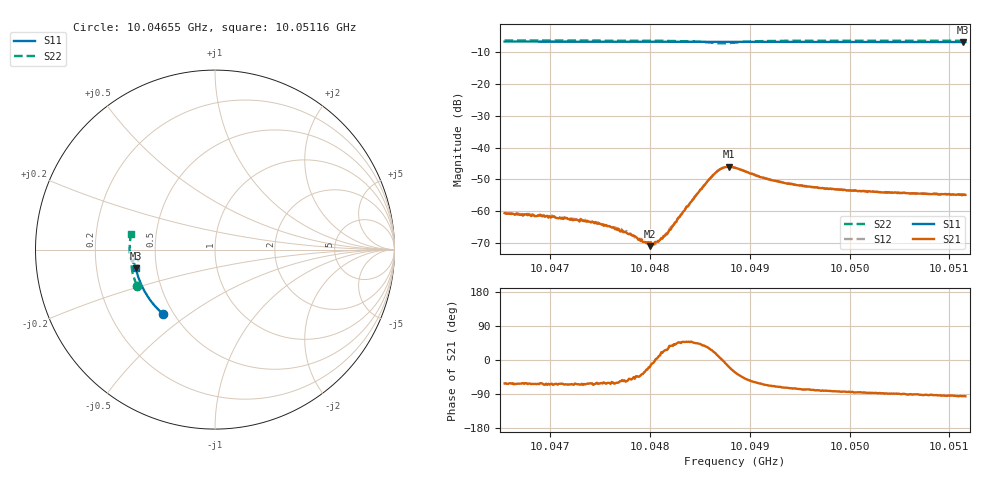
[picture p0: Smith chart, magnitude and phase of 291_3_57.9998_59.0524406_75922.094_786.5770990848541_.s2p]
#  HZ  S  RI  R  50.00
! Rohde & Schwarz Vector Network Analyzer
! Rohde-Schwarz,ZNB20-2Port,1311601062101988,3.16
! Created: UTC 3/21/2024, 1:03:18 AM
! freq[Hz]  re:S11  im:S11  re:S21  im:S21  re:S12  im:S12  re:S22  im:S22
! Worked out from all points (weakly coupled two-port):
!   401 points, 10.04655 GHz to 10.05116 GHz, reference 50 ohm
!   highest |S21| = -46.02 dB at 10.04879 GHz (marker M1); lowest = -70.9 dB at 10.048 GHz (marker M2)
!   lowest |S11| = -6.9 dB at 10.05114 GHz (marker M3), VSWR 2.65, Z = 19.1 - j5.03 ohm
!   |S11| at or under -10 dB: nowhere
!   |S22| runs from -7.3 to -6.4 dB; largest |S21 - S12| = 0.00036
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1.0046545e10  -0.2884 -0.3597  0.000441 -0.000826  0.000495 -0.000798  -0.4352 -0.2018
1.0046949e10  -0.3081 -0.3418  0.000345 -0.00075  0.000434 -0.000743  -0.4451 -0.1764
1.0047318e10  -0.3252 -0.3243  0.000331 -0.000641  0.000372 -0.000633  -0.4532 -0.1523
1.004748e10  -0.3325 -0.3165  0.000292 -0.000568  0.000352 -0.000577  -0.4562 -0.1415
1.0047699e10  -0.3419 -0.3057  0.00027 -0.000404  0.000318 -0.000453  -0.4598 -0.1262
1.0047999e10  -0.3544 -0.2901  0.000268 -9.45e-05  0.000308 -8.22e-05  -0.4634 -0.1039
1.0048022e10  -0.3552 -0.2888  0.0003 -4.95e-05  0.000283 -2.39e-05  -0.4634 -0.102
1.0048045e10  -0.3562 -0.2877  0.000314 -2.29e-05  0.000322 -1.46e-05  -0.4638 -0.1001
1.0048091e10  -0.3581 -0.2852  0.000339 6.43e-05  0.00033 7.81e-05  -0.4638 -0.0964
1.0048126e10  -0.3594 -0.2835  0.000353 0.000121  0.000343 0.00014  -0.464 -0.0938
1.0048195e10  -0.362 -0.2799  0.000407 0.00031  0.000418 0.000316  -0.464 -0.0877
1.0048472e10  -0.3725 -0.2647  0.00134 0.0013  0.00125 0.00137  -0.4564 -0.0616
1.0048622e10  -0.3777 -0.2564  0.00317 0.00151  0.00311 0.00169  -0.4392 -0.0526
1.0048714e10  -0.3807 -0.2514  0.00465 0.000223  0.00467 0.000529  -0.4278 -0.0608
1.0048795e10  -0.3834 -0.2471  0.00473 -0.00163  0.00484 -0.00134  -0.4302 -0.0737
1.0048853e10  -0.3855 -0.2439  0.00407 -0.0026  0.00429 -0.00236  -0.4382 -0.0783
1.0049187e10  -0.3966 -0.2249  0.00123 -0.00294  0.00143 -0.00286  -0.4674 -0.0559
1.0049372e10  -0.4021 -0.214  0.000788 -0.00261  0.000949 -0.00259  -0.472 -0.0403
1.0049625e10  -0.4094 -0.1989  0.000474 -0.00236  0.000599 -0.00234  -0.4747 -0.0206
1.0050398e10  -0.4279 -0.1517  5.15e-05 -0.00198  0.00018 -0.00195  -0.4746 0.0341
1.0051137e10  -0.4404 -0.1048  -0.000173 -0.00183  -3.38e-05 -0.00181  -0.4682 0.0833
1.005116e10  -0.4409 -0.1035  -0.000179 -0.0018  -6.78e-05 -0.00181  -0.4678 0.0846
